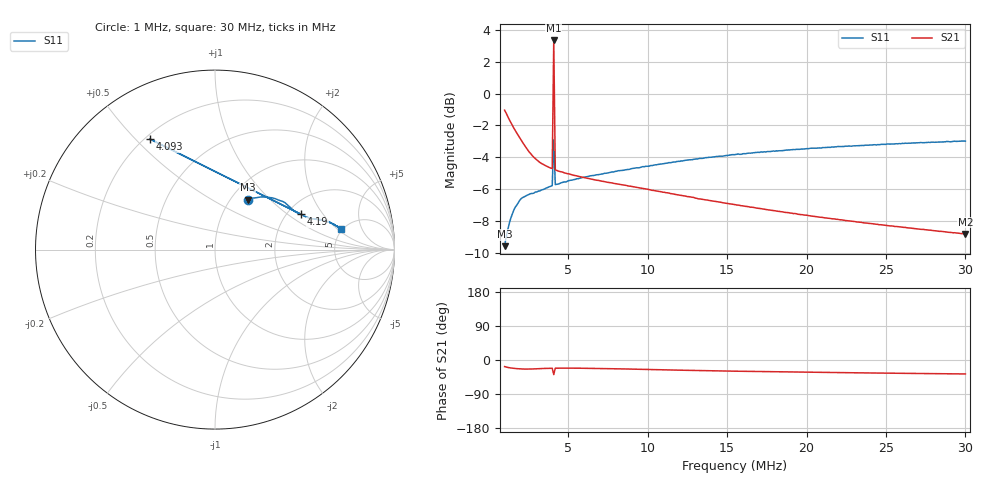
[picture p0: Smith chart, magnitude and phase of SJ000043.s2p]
!File created by NanoVNA-F V2
# Hz S RI R 50
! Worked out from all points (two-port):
!   301 points, 1 MHz to 30 MHz, reference 50 ohm
!   highest |S21| = 3.33 dB at 4.093 MHz (marker M1); lowest = -8.8 dB at 30 MHz (marker M2)
!   |S21| within 3 dB of the highest: 4.057 MHz to 4.129 MHz (71.83 kHz wide, 1.75 % of centre)
!   lowest |S11| = -9.6 dB at 1 MHz (marker M3), VSWR 1.99, Z = 59.5 + j37.2 ohm
!   |S11| at or under -10 dB: nowhere
!   S12 and S22 are empty: the file has one direction only
!   S11 on the Smith chart (normalised r, x): 1 MHz: 1.19, +0.74; 4.093 MHz: 0.22, +0.55; 4.19 MHz: 2.37, +1.27; 30 MHz: 4.81, +2.22
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1000000  0.1815 0.2781  0.8462 -0.2652  0 0  0 0
1096666  0.2083 0.2869  0.823 -0.276  0 0  0 0
1289998  0.2576 0.2938  0.7775 -0.2876  0 0  0 0
1386664  0.2815 0.2928  0.758 -0.2907  0 0  0 0
1676662  0.3378 0.283  0.7062 -0.2923  0 0  0 0
2063326  0.3897 0.2614  0.6516 -0.2848  0 0  0 0
2449990  0.4193 0.2349  0.6084 -0.2704  0 0  0 0
2836654  0.4343 0.2202  0.5793 -0.2515  0 0  0 0
3223318  0.4489 0.2093  0.5603 -0.2353  0 0  0 0
3996646  0.4743 0.1993  0.5404 -0.2161  0 0  0 0
4093312  -0.364 0.6167  1.148 -0.9136  0 0  0 0
4189978  0.4798 0.1962  0.5354 -0.2126  0 0  0 0
4963306  0.4978 0.1857  0.5211 -0.2062  0 0  0 0
5833300  0.5138 0.1802  0.5082 -0.2024  0 0  0 0
7959952  0.5439 0.1702  0.4799 -0.205  0 0  0 0
1.06666e7  0.5753 0.1681  0.4454 -0.2131  0 0  0 0
1.317992e7  0.6029 0.1613  0.4129 -0.2192  0 0  0 0
1.54999e7  0.6236 0.1577  0.3901 -0.221  0 0  0 0
2.03332e7  0.6582 0.1432  0.3484 -0.221  0 0  0 0
2.439317e7  0.6777 0.1289  0.3211 -0.2198  0 0  0 0
2.51665e7  0.6825 0.1297  0.3162 -0.2197  0 0  0 0
2.99998e7  0.6997 0.1147  0.2903 -0.2175  0 0  0 0
